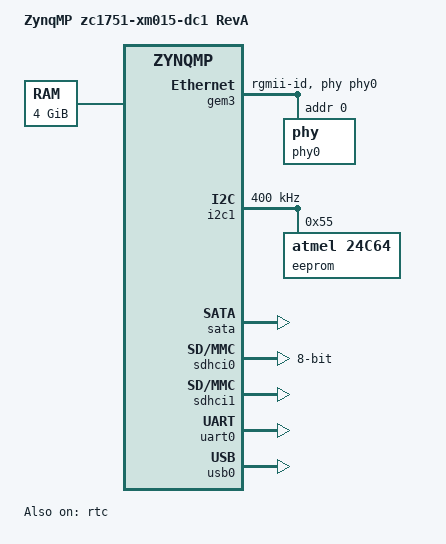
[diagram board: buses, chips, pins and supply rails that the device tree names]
// SPDX-License-Identifier: GPL-2.0+
/*
 * dts file for Xilinx ZynqMP zc1751-xm015-dc1
 *
 * (C) Copyright 2015 - 2018, Xilinx, Inc.
 *
 * Michal Simek <michal.simek@xilinx.com>
 */

/dts-v1/;

#include "zynqmp.dtsi"
#include "zynqmp-clk.dtsi"
#include <dt-bindings/gpio/gpio.h>

/ {
	model = "ZynqMP zc1751-xm015-dc1 RevA";
	compatible = "xlnx,zynqmp-zc1751", "xlnx,zynqmp";

	aliases {
		ethernet0 = &gem3;
		i2c0 = &i2c1;
		mmc0 = &sdhci0;
		mmc1 = &sdhci1;
		rtc0 = &rtc;
		serial0 = &uart0;
	};

	chosen {
		bootargs = "earlycon";
		stdout-path = "serial0:115200n8";
	};

	memory@0 {
		device_type = "memory";
		reg = <0x0 0x0 0x0 0x80000000>, <0x8 0x00000000 0x0 0x80000000>;
	};
};

&fpd_dma_chan1 {
	status = "okay";
};

&fpd_dma_chan2 {
	status = "okay";
};

&fpd_dma_chan3 {
	status = "okay";
};

&fpd_dma_chan4 {
	status = "okay";
};

&fpd_dma_chan5 {
	status = "okay";
};

&fpd_dma_chan6 {
	status = "okay";
};

&fpd_dma_chan7 {
	status = "okay";
};

&fpd_dma_chan8 {
	status = "okay";
};

&gem3 {
	status = "okay";
	phy-handle = <&phy0>;
	phy-mode = "rgmii-id";
	phy0: phy@0 {
		reg = <0>;
	};
};

&gpio {
	status = "okay";
};


&i2c1 {
	status = "okay";
	clock-frequency = <400000>;

	eeprom: eeprom@55 {
		compatible = "atmel,24c64"; /* 24AA64 */
		reg = <0x55>;
	};
};

&rtc {
	status = "okay";
};

&sata {
	status = "okay";
	/* SATA phy OOB timing settings */
	ceva,p0-cominit-params = /bits/ 8 <0x1B 0x4D 0x18 0x28>;
	ceva,p0-comwake-params = /bits/ 8 <0x06 0x19 0x08 0x0E>;
	ceva,p0-burst-params = /bits/ 8 <0x13 0x08 0x4A 0x06>;
	ceva,p0-retry-params = /bits/ 16 <0x96A4 0x3FFC>;
	ceva,p1-cominit-params = /bits/ 8 <0x1B 0x4D 0x18 0x28>;
	ceva,p1-comwake-params = /bits/ 8 <0x06 0x19 0x08 0x0E>;
	ceva,p1-burst-params = /bits/ 8 <0x13 0x08 0x4A 0x06>;
	ceva,p1-retry-params = /bits/ 16 <0x96A4 0x3FFC>;
};

/* eMMC */
&sdhci0 {
	status = "okay";
	bus-width = <8>;
};

/* SD1 with level shifter */
&sdhci1 {
	status = "okay";
};

&uart0 {
	status = "okay";
};

/* ULPI SMSC USB3320 */
&usb0 {
	status = "okay";
};
